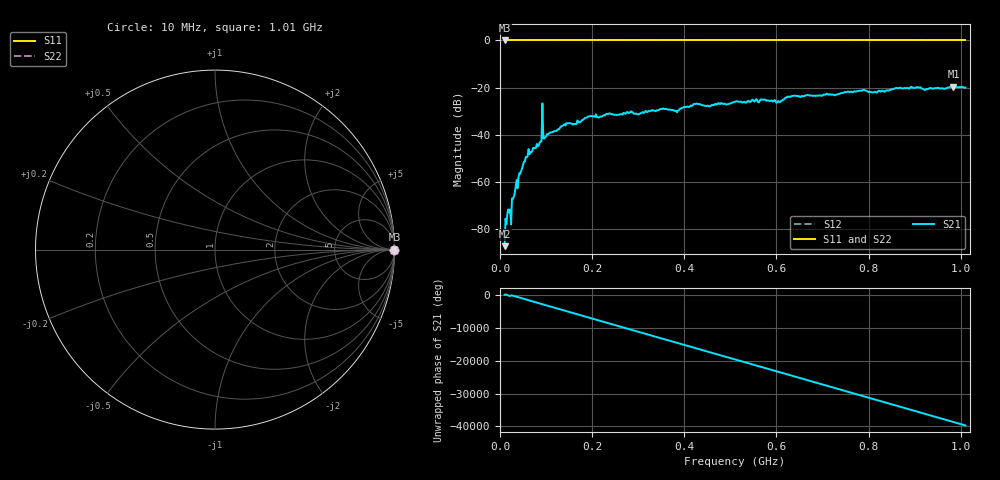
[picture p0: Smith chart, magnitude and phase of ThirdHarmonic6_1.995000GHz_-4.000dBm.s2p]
! 8/16/2025 11:58:19 PM
! C:\ANRITSUVNA\TEMP\TEMP.S2P
! CHANNEL.1
! TR.MEASUREMENT
! RAW.DATA
! RF.CORRECTION.OFF
! AVERAGING.OFF
! IF.BANDWIDTH: 5KHZ
! SWEEPTYPE:  FREQ.SWEEP(Linear)
! Reference Plane Port Info
! PORT:  PORT1  PORT2
! DISTANCE:  0  m  0  m
! TIME:  0  s  0  s
! PHASE.OFFSET:  0  deg.  0  deg.
! LOSS:  0  dB  0  dB
! REF.LOSS:  0  dB  0  dB
! REF.FREQ:  0  Hz  0  Hz
! Power Info
! POWER:  -20  dBm  -20  dBm
! EFF.POWER:  -20  dBm  -20  dBm
! SOURCE.ATTEN:  0  dB  0  dB
! TEST.ATTEN:  0  dB  0  dB
# GHZ S RI R 50.0
! FREQ.GHZ  S11RE  S11IM  S21RE  S21IM  S12RE  S12IM  S22RE  S22IM
!; PortSelection: Port_12
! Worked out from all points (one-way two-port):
!   501 points, 10 MHz to 1.01 GHz, reference 50 ohm
!   highest |S21| = -19.59 dB at 984 MHz (marker M1); lowest = -87.4 dB at 10 MHz (marker M2)
!   lowest |S11| = 0.0 dB at 10 MHz (marker M3)
!   |S11| at or under -10 dB: nowhere
!   |S22| runs from 0.0 to 0.0 dB; largest |S21 - S12| = 1.1
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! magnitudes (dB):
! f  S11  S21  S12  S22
! 10 MHz  0.0  -87.4  0.0  0.0
! 24 MHz  0.0  -78.2  0.0  0.0
! 38 MHz  0.0  -62.8  0.0  0.0
! 52 MHz  0.0  -51.5  0.0  0.0
! 60 MHz  0.0  -49.1  0.0  0.0
! 86 MHz  0.0  -43.4  0.0  0.0
! 88 MHz  0.0  -43.0  0.0  0.0
! 90 MHz  0.0  -42.8  0.0  0.0
! 96 MHz  0.0  -41.6  0.0  0.0
! 98 MHz  0.0  -41.1  0.0  0.0
! 142 MHz  0.0  -36.1  0.0  0.0
! 178 MHz  0.0  -33.9  0.0  0.0
! 196 MHz  0.0  -32.2  0.0  0.0
! 344 MHz  0.0  -29.6  0.0  0.0
! 382 MHz  0.0  -29.8  0.0  0.0
! 510 MHz  0.0  -26.0  0.0  0.0
! 604 MHz  0.0  -25.7  0.0  0.0
! 636 MHz  0.0  -23.5  0.0  0.0
! 678 MHz  0.0  -23.6  0.0  0.0
! 844 MHz  0.0  -21.2  0.0  0.0
! 984 MHz  0.0  -19.6  0.0  0.0
! 1.01 GHz  0.0  -20.0  0.0  0.0
